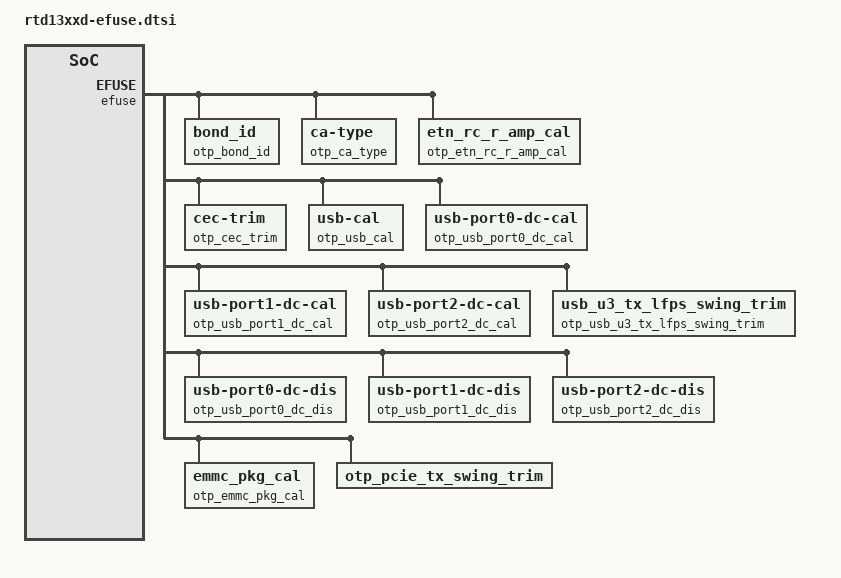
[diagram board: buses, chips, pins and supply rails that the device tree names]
// SPDX-License-Identifier: GPL-2.0
/* Copyright (C) 2020 Realtek Semiconductor Corporation
 */
&efuse {
	otp_bond_id: bond_id@3c8,0 {
		reg = <0x3c8 0x4>;
	};
	otp_ca_type: ca-type@3ec,0 {
		reg = <0x3ec 0x1>;
	};
	otp_etn_rc_r_amp_cal: etn_rc_r_amp_cal@500,0 {
		reg = <0x500 0x4>;
	};
	otp_cec_trim: cec-trim@524,0 {
		reg = <0x524 0x1>;
		bits = <0 5>;
	};
	otp_usb_cal: usb-cal@528,0 {
		reg = <0x528 0xa>;
		bits = <0 77>;
	};
	otp_usb_port0_dc_cal: usb-port0-dc-cal@534,0 {
		reg = <0x534 0x1>;
		bits = <0 4>;
	};
	otp_usb_port1_dc_cal: usb-port1-dc-cal@534,4 {
		reg = <0x534 0x1>;
		bits = <4 4>;
	};
	otp_usb_port2_dc_cal: usb-port2-dc-cal@535,0 {
		reg = <0x535 0x1>;
		bits = <0 4>;
	};
	otp_usb_u3_tx_lfps_swing_trim: usb_u3_tx_lfps_swing_trim@508,0 {
		reg = <0x508 0x1>;
		bits = <0 4>;
	};
	otp_usb_port0_dc_dis: usb-port0-dc-dis@520,0 {
		reg = <0x520 0x1>;
		bits = <0 4>;
	};
	otp_usb_port1_dc_dis: usb-port1-dc-dis@520,4 {
		reg = <0x520 0x1>;
		bits = <4 4>;
	};
	otp_usb_port2_dc_dis: usb-port2-dc-dis@521,0 {
		reg = <0x521 0x1>;
		bits = <0 4>;
	};
	otp_emmc_pkg_cal: emmc_pkg_cal@540,0 {
		reg = <0x540 0x4>;
	};
	otp_pcie_tx_swing_trim: otp_pcie_tx_swing_trim@fcc,0 {
		reg = <0xfcc 0x1>;
		bits = <0 4>;
	};
};
